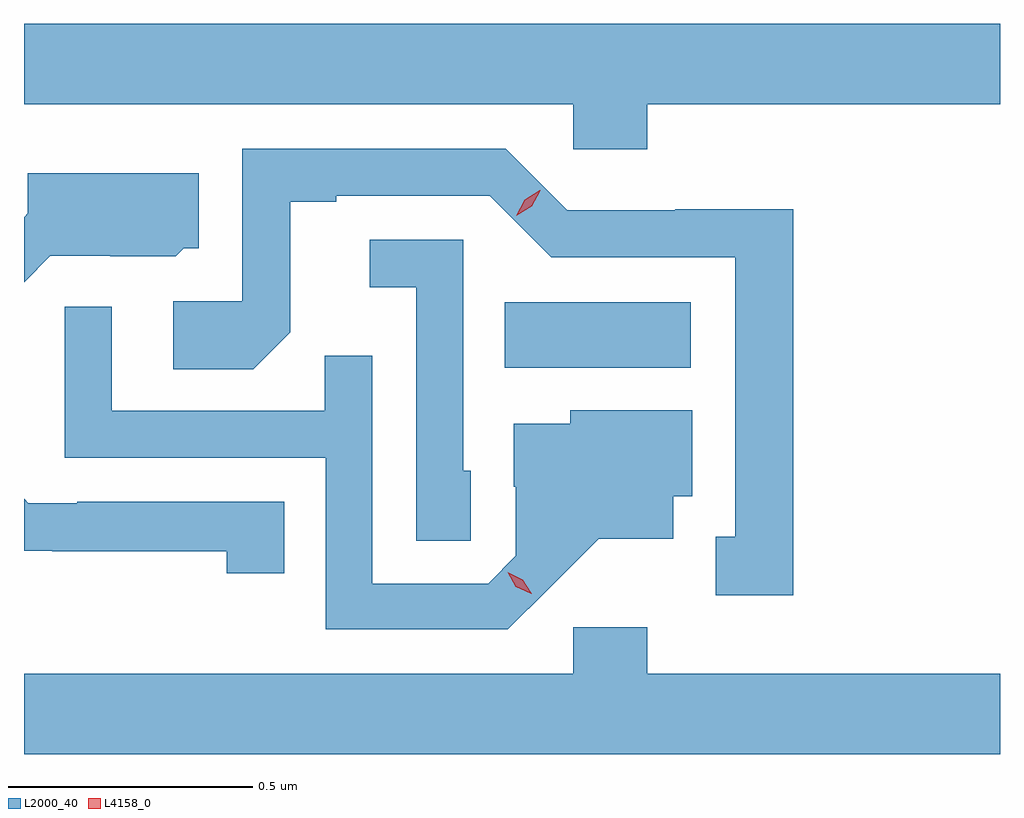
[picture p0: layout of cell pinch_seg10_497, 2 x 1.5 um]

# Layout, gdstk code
import gdstk
lib = gdstk.Library(unit=1e-6, precision=1e-09)
def R(c, l, rs):  # rectangles x0, y0, x1, y1
    for r in rs: c.add(gdstk.rectangle(r[:2], r[2:], *l))
def P(c, l, *ps):  # polygons
    for p in ps: c.add(gdstk.Polygon(p, *l))
L2000_40 = (2000, 40)
L4158_0 = (4158, 0)

pinch_seg10_497 = lib.new_cell('pinch_seg10_497')
R(pinch_seg10_497, L2000_40, [(324.736,1317.092,325.117,1317.226)])
P(pinch_seg10_497, L2000_40, [(325.028,1317.632),(325.751,1317.632),(325.751,1317.796),(323.751,1317.796),(323.751,1317.632),(324.876,1317.632),(324.876,1317.539),(325.028,1317.539)],
  [(325.327,1317.416),(325.086,1317.416),(325.086,1317.414),(324.864,1317.414),(324.738,1317.54),(324.198,1317.54),(324.198,1317.228),(324.057,1317.228),(324.057,1317.088),(324.221,1317.088),(324.297,1317.164),(324.297,1317.432),(324.391,1317.432),(324.391,1317.444),(324.705,1317.444),(324.831,1317.318),(325.208,1317.318),(325.208,1316.745),(325.169,1316.745),(325.169,1316.625),(325.327,1316.625)],
  [(323.805,1317.321),(323.928,1317.321),(323.928,1317.32),(324.062,1317.32),(324.078,1317.336),(324.109,1317.336),(324.109,1317.49),(323.759,1317.49),(323.759,1317.408),(323.751,1317.4),(323.751,1317.267)],
  [(324.666,1316.88),(324.651,1316.88),(324.651,1317.354),(324.459,1317.354),(324.459,1317.257),(324.555,1317.257),(324.555,1316.737),(324.666,1316.737)],
  [(324.826,1316.639),(324.929,1316.741),(325.081,1316.741),(325.081,1316.828),(325.12,1316.828),(325.12,1317.004),(324.87,1317.004),(324.87,1316.977),(324.755,1316.977),(324.755,1316.848),(324.759,1316.848),(324.759,1316.706),(324.702,1316.649),(324.465,1316.649),(324.465,1317.116),(324.367,1317.116),(324.367,1317.003),(323.931,1317.003),(323.931,1317.217),(323.835,1317.217),(323.835,1316.907),(324.369,1316.907),(324.369,1316.556),(324.742,1316.556)],
  [(324.284,1316.817),(323.86,1316.817),(323.86,1316.814),(323.76,1316.814),(323.751,1316.823),(323.751,1316.717),(323.809,1316.717),(323.809,1316.716),(324.166,1316.716),(324.166,1316.67),(324.284,1316.67)],
  [(325.751,1316.464),(325.028,1316.464),(325.028,1316.56),(324.876,1316.56),(324.876,1316.464),(323.751,1316.464),(323.751,1316.3),(325.751,1316.3)])
P(pinch_seg10_497, L4158_0, [(324.76,1317.403),(324.76,1317.403),(324.777,1317.436),(324.808,1317.455),(324.809,1317.455),(324.809,1317.454),(324.791,1317.422),(324.76,1317.403)],
  [(324.79,1316.628),(324.759,1316.643),(324.742,1316.672),(324.742,1316.672),(324.742,1316.672),(324.773,1316.657),(324.791,1316.628),(324.791,1316.628)])

lib.write_gds('pinch_seg10_497.gds')
